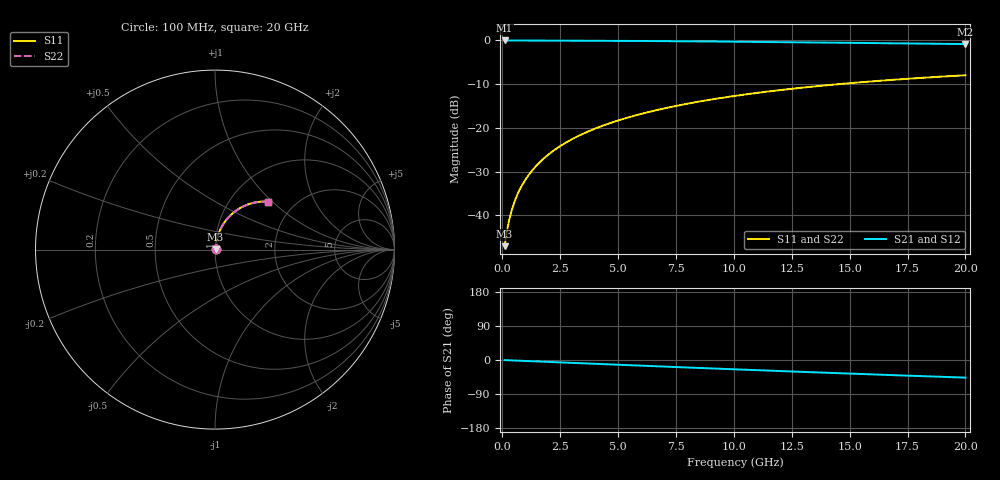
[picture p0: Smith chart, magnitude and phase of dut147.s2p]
! Touchstone file exported from HFSS 2026.1.0
!  File:  C:/ffzhzh/LocalFiles/Ansys_Project_Files/temp_train_TMRDL_147_1782983079_40604.aedt
!  Generated:  05:05:56 PM Jul  2, 2026
!  Design:  TMRDL
!  Project:  temp_train_TMRDL_147_1782983079_40604
! Variables:
!  h_bsmrdl = 2um
!  h_ox = 20um
!  h_rdl = 5um
!  h_sub = 80um
!  h_tmrdl = 2.95um
!  h_tsv = 80um
!  h_via = 3um
!  l_bsmrdl = 300um
!  l_sub = 1090.9um
!  l_tmrdl = 690.9um
!  m_sub = 200um
!  pitch = 52.29um
!  r_tsv = 6um
!  s_tmrdl = 10um
!  w_bsmrdl = 18um
!  w_sub = 500um
!  w_tmrdl = 25.88um
!  x_tsv_center1 = 703.84um
!  x_tsv_center2 = 1021.84um
!  x_tsv_center3 = 1738.62um
!  x_tsv_center4 = 2056.62um
!  x_tsv_center5 = 2773.4um
!  x_tsv_center6 = 3091.4um
# GHz S MA R 50.000000
! Terminal data exported
! Port[1] = TM_RDL1_1_T1
! Port[2] = TM_RDL1_1_T2
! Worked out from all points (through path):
!   200 points, 100 MHz to 20 GHz, reference 50 ohm
!   highest |S21| = -0.03 dB at 100 MHz (marker M1); lowest = -0.9 dB at 20 GHz (marker M2)
!   group delay of S21, straight-line fit = 6.47 ps
!   lowest |S11| = -47.1 dB at 100 MHz (marker M3), VSWR 1.01, Z = 50.3 + j0.277 ohm
!   |S11| at or under -10 dB: start of sweep to 14.56 GHz
!   |S22| runs from -47.1 to -8.0 dB; largest |S21 - S12| = 3.6e-15
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0.1  0.004438 38.3  0.9965 -0.3  0.9965 -0.3  0.004438 38.2
! Gamma 0 0 0 0
! Port Impedance 50 0 50 0
0.2  0.006552 55.7  0.9963 -0.5  0.9963 -0.5  0.006552 55.7
0.3  0.008897 63.6  0.9961 -0.8  0.9961 -0.8  0.008897 63.6
0.4  0.01127 68.0  0.9959 -1.0  0.9959 -1.0  0.01127 68.0
0.5  0.01363 70.8  0.9957 -1.3  0.9957 -1.3  0.01363 70.8
0.6  0.016 72.9  0.9956 -1.5  0.9956 -1.5  0.016 72.9
0.8  0.02074 75.5  0.9954 -2.0  0.9954 -2.0  0.02075 75.5
1.1  0.02792 77.7  0.995 -2.8  0.995 -2.8  0.02792 77.7
1.3  0.03273 78.5  0.9948 -3.3  0.9948 -3.3  0.03274 78.5
1.6  0.03998 79.1  0.9945 -4.1  0.9945 -4.1  0.03998 79.1
2.1  0.05209 79.3  0.9938 -5.3  0.9938 -5.3  0.05209 79.3
2.7  0.06659 78.8  0.9927 -6.8  0.9927 -6.8  0.06659 78.8
3.5  0.08581 77.6  0.9909 -8.8  0.9909 -8.8  0.08581 77.6
4.2  0.1025 76.3  0.9891 -10.5  0.9891 -10.5  0.1025 76.3
5  0.1212 74.6  0.9866 -12.5  0.9866 -12.5  0.1212 74.6
5.9  0.142 72.7  0.9834 -14.7  0.9834 -14.7  0.142 72.6
6.8  0.1623 70.7  0.9798 -16.9  0.9798 -16.9  0.1623 70.6
8.3  0.1952 67.3  0.9731 -20.5  0.9731 -20.5  0.1952 67.2
10.1  0.2327 63.2  0.964 -24.8  0.964 -24.8  0.2327 63.1
13.4  0.2958 55.8  0.9455 -32.3  0.9455 -32.3  0.2958 55.7
16.7  0.3512 48.8  0.9257 -39.6  0.9257 -39.6  0.3512 48.7
20  0.3987 42.0  0.906 -46.5  0.906 -46.5  0.3987 41.9
